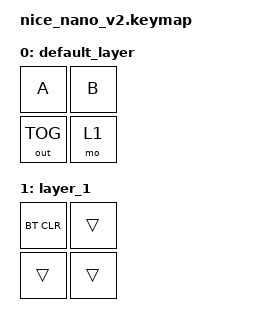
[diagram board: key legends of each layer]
#include <behaviors.dtsi>
#include <dt-bindings/zmk/keys.h>
#include <dt-bindings/zmk/bt.h>
#include <dt-bindings/zmk/matrix_transform.h> 
#include <dt-bindings/zmk/outputs.h>

/{




    keymap{

        compatible = "zmk,keymap";

        default_layer {
                bindings = <
                    &kp A    &kp B    
                    &out OUT_TOG    &mo 1    
                   
                >;
            };

            /* Layer 1: Test Layer
            * -------------------
            * | BT_CLR | (trans) |
            * -------------------
            * | (trans)  | (trans) |
            * -------------------
            */
            layer_1 {
                bindings = <
                    &bt BT_CLR   &trans     
                    &trans       &trans    
                    
                >;
            };
    };
};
